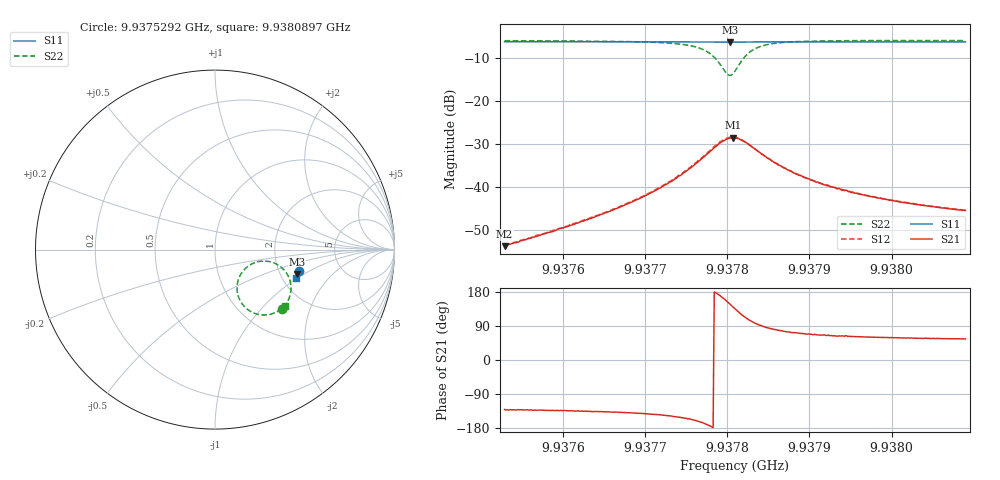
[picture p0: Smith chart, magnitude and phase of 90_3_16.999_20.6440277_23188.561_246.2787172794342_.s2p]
#  HZ  S  RI  R  50.00
! Rohde & Schwarz Vector Network Analyzer
! Rohde-Schwarz,ZNB20-2Port,1311601062101988,3.16
! Created: UTC 3/20/2024, 10:56:06 PM
! freq[Hz]  re:S11  im:S11  re:S21  im:S21  re:S12  im:S12  re:S22  im:S22
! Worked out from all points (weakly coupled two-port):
!   401 points, 9.9375292 GHz to 9.9380897 GHz, reference 50 ohm
!   highest |S21| = -28.56 dB at 9.9378066 GHz (marker M1); lowest = -53.7 dB at 9.9375292 GHz (marker M2)
!   lowest |S11| = -6.4 dB at 9.9378038 GHz (marker M3), VSWR 2.82, Z = 123 - j43.7 ohm
!   |S11| at or under -10 dB: nowhere
!   |S22| runs from -14.1 to -6.0 dB; largest |S21 - S12| = 0.002
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9.93752915e9  0.4668 -0.1212  -0.00135 -0.00158  -0.00141 -0.00159  0.3711 -0.3283
9.93762305e9  0.4647 -0.1277  -0.00282 -0.00285  -0.00292 -0.00284  0.3536 -0.341
9.9376665e9  0.4634 -0.1306  -0.00422 -0.00383  -0.00439 -0.00383  0.3387 -0.3496
9.93771695e9  0.462 -0.1341  -0.00786 -0.00563  -0.0081 -0.00558  0.3044 -0.3613
9.93774918e9  0.4607 -0.1366  -0.0135 -0.00678  -0.0141 -0.00649  0.2554 -0.3634
9.93777021e9  0.4591 -0.138  -0.0212 -0.0054  -0.0218 -0.00488  0.1942 -0.3421
9.93778142e9  0.4581 -0.1384  -0.027 -0.00156  -0.0281 -0.000733  0.151 -0.302
9.93779123e9  0.4572 -0.1383  -0.032 0.00567  -0.0327 0.00713  0.1239 -0.2342
9.93779964e9  0.4567 -0.1377  -0.0326 0.0154  -0.0326 0.0172  0.135 -0.1547
9.93780384e9  0.4566 -0.1373  -0.0309 0.0207  -0.0305 0.0225  0.1584 -0.1166
9.93780665e9  0.4568 -0.1371  -0.0289 0.0237  -0.0282 0.0256  0.1803 -0.0957
9.93780945e9  0.457 -0.1369  -0.0262 0.0263  -0.0254 0.028  0.2053 -0.0799
9.93781646e9  0.4576 -0.1368  -0.0185 0.0302  -0.0173 0.0313  0.2728 -0.0637
9.93782346e9  0.4583 -0.1369  -0.0111 0.0306  -0.01 0.0311  0.3302 -0.075
9.93783047e9  0.459 -0.1374  -0.00554 0.0286  -0.00446 0.0289  0.3701 -0.0995
9.93783888e9  0.4593 -0.1384  -0.00102 0.0254  -0.000185 0.0257  0.3987 -0.1315
9.93786551e9  0.4594 -0.1408  0.00395 0.017  0.0043 0.0169  0.4233 -0.2058
9.93788232e9  0.459 -0.1424  0.0044 0.0138  0.00477 0.0137  0.4226 -0.2329
9.93790335e9  0.4587 -0.1441  0.00461 0.0111  0.00492 0.011  0.4182 -0.2551
9.9379496e9  0.4576 -0.1474  0.00413 0.00784  0.0043 0.00777  0.4078 -0.2821
9.93799725e9  0.4563 -0.1507  0.00364 0.00605  0.00376 0.00609  0.3995 -0.2972
9.93808974e9  0.4538 -0.1568  0.00302 0.00445  0.00316 0.0044  0.3877 -0.3138
